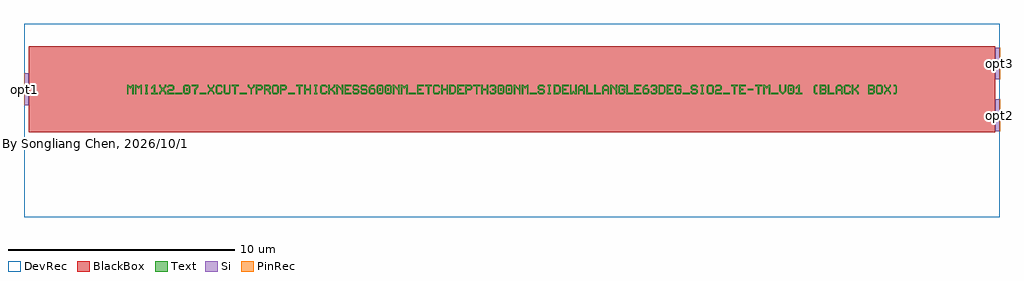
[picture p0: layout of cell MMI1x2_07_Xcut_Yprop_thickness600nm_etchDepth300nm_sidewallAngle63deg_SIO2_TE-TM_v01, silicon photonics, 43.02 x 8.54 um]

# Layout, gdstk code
import gdstk
lib = gdstk.Library(unit=1e-6, precision=1e-10)
def R(c, l, rs):  # rectangles x0, y0, x1, y1
    for r in rs: c.add(gdstk.rectangle(r[:2], r[2:], *l))
def A(c, l, x, y, w, h, nx, ny, dx, dy):  # array of equal rectangles
    R(c, l, [(x+i*dx, y+j*dy, x+i*dx+w, y+j*dy+h) for i in range(nx) for j in range(ny)])
def P(c, l, *ps):  # polygons
    for p in ps: c.add(gdstk.Polygon(p, *l))
Si = (1, 0)
PinRec = (1, 10)
Text = (10, 0)
DevRec = (68, 0)
BlackBox = (998, 0)

text = lib.new_cell('TEXT')
A(text, Text, 7.1, 0, 0.296, 0.059, 3, 1, 5.325, 0)
R(text, Text, [(2.13,0,2.426,0.059), (3.195,0,3.491,0.059), (4.97,0,5.266,0.059), (24.495,0,24.791,0.059), (26.27,0,26.566,0.059), (28.4,0,28.696,0.059), (2.603,0.148,2.663,0.266), (11.123,0.148,11.183,0.266), (11.478,0.148,11.538,0.266), (16.448,0.148,16.508,0.266), (16.803,0.148,16.863,0.266), (29.228,0.148,29.288,0.266), (27.365,0.178,27.601,0.237)])
P(text, Text, [(0,0),(0,0.414),(0.059,0.414),(0.118,0.355),(0.178,0.355),(0.237,0.414),(0.296,0.414),(0.296,0),(0.237,0),(0.237,0.296),(0.207,0.296),(0.148,0.237),(0.089,0.296),(0.059,0.296),(0.059,0)],
  [(0.355,0),(0.355,0.414),(0.414,0.414),(0.473,0.355),(0.533,0.355),(0.592,0.414),(0.651,0.414),(0.651,0),(0.592,0),(0.592,0.296),(0.562,0.296),(0.503,0.237),(0.444,0.296),(0.414,0.296),(0.414,0)],
  [(0.799,0),(0.799,0.059),(0.828,0.059),(0.828,0.355),(0.799,0.355),(0.799,0.414),(0.917,0.414),(0.917,0.355),(0.888,0.355),(0.888,0.059),(0.917,0.059),(0.917,0)],
  [(1.065,0),(1.065,0.059),(1.183,0.059),(1.183,0.296),(1.154,0.296),(1.095,0.237),(1.065,0.237),(1.065,0.296),(1.183,0.414),(1.243,0.414),(1.243,0.059),(1.361,0.059),(1.361,0)],
  [(1.42,0),(1.42,0.089),(1.509,0.178),(1.509,0.237),(1.42,0.325),(1.42,0.414),(1.479,0.414),(1.479,0.355),(1.568,0.266),(1.657,0.355),(1.657,0.414),(1.716,0.414),(1.716,0.325),(1.627,0.237),(1.627,0.178),(1.716,0.089),(1.716,0),(1.657,0),(1.657,0.059),(1.568,0.148),(1.479,0.059),(1.479,0)],
  [(1.775,0),(1.775,0.148),(1.834,0.207),(1.982,0.207),(2.012,0.237),(2.012,0.325),(1.982,0.355),(1.864,0.355),(1.834,0.325),(1.834,0.296),(1.775,0.296),(1.775,0.355),(1.834,0.414),(2.012,0.414),(2.071,0.355),(2.071,0.207),(2.012,0.148),(1.864,0.148),(1.834,0.118),(1.834,0.059),(2.071,0.059),(2.071,0)],
  [(2.544,0),(2.485,0.059),(2.485,0.355),(2.544,0.414),(2.722,0.414),(2.781,0.355),(2.574,0.355),(2.544,0.325),(2.544,0.089),(2.574,0.059),(2.692,0.059),(2.722,0.089),(2.722,0.325),(2.692,0.355),(2.781,0.355),(2.781,0.059),(2.722,0)],
  [(2.958,0),(2.958,0.207),(3.077,0.325),(3.077,0.355),(2.84,0.355),(2.84,0.414),(3.136,0.414),(3.136,0.296),(3.018,0.178),(3.018,0)],
  [(3.55,0),(3.55,0.089),(3.639,0.178),(3.639,0.237),(3.55,0.325),(3.55,0.414),(3.609,0.414),(3.609,0.355),(3.698,0.266),(3.787,0.355),(3.787,0.414),(3.846,0.414),(3.846,0.325),(3.757,0.237),(3.757,0.178),(3.846,0.089),(3.846,0),(3.787,0),(3.787,0.059),(3.698,0.148),(3.609,0.059),(3.609,0)],
  [(3.964,0),(3.905,0.059),(3.905,0.355),(3.964,0.414),(4.142,0.414),(4.201,0.355),(4.201,0.296),(4.142,0.296),(4.142,0.325),(4.112,0.355),(3.994,0.355),(3.964,0.325),(3.964,0.089),(3.994,0.059),(4.112,0.059),(4.142,0.089),(4.142,0.118),(4.201,0.118),(4.201,0.059),(4.142,0)],
  [(4.319,0),(4.26,0.059),(4.26,0.414),(4.319,0.414),(4.319,0.089),(4.349,0.059),(4.467,0.059),(4.497,0.089),(4.497,0.414),(4.556,0.414),(4.556,0.059),(4.497,0)],
  [(4.733,0),(4.733,0.355),(4.615,0.355),(4.615,0.414),(4.911,0.414),(4.911,0.355),(4.793,0.355),(4.793,0)],
  [(5.443,0),(5.443,0.207),(5.325,0.325),(5.325,0.414),(5.384,0.414),(5.384,0.355),(5.473,0.266),(5.562,0.355),(5.562,0.414),(5.621,0.414),(5.621,0.325),(5.503,0.207),(5.503,0)],
  [(5.68,0),(5.68,0.414),(5.917,0.414),(5.976,0.355),(5.976,0.237),(5.917,0.178),(5.739,0.178),(5.739,0.237),(5.887,0.237),(5.917,0.266),(5.917,0.325),(5.887,0.355),(5.739,0.355),(5.739,0)],
  [(6.035,0),(6.035,0.414),(6.272,0.414),(6.331,0.355),(6.094,0.355),(6.094,0.237),(6.242,0.237),(6.272,0.266),(6.272,0.325),(6.242,0.355),(6.331,0.355),(6.331,0.237),(6.272,0.178),(6.272,0.148),(6.331,0.089),(6.331,0),(6.272,0),(6.272,0.059),(6.153,0.178),(6.094,0.178),(6.094,0)],
  [(6.449,0),(6.39,0.059),(6.39,0.355),(6.449,0.414),(6.627,0.414),(6.686,0.355),(6.686,0.207),(6.627,0.207),(6.627,0.325),(6.597,0.355),(6.479,0.355),(6.449,0.325),(6.449,0.089),(6.479,0.059),(6.597,0.059),(6.627,0.089),(6.627,0.207),(6.686,0.207),(6.686,0.059),(6.627,0)],
  [(6.745,0),(6.745,0.414),(6.982,0.414),(7.041,0.355),(7.041,0.237),(6.982,0.178),(6.804,0.178),(6.804,0.237),(6.952,0.237),(6.982,0.266),(6.982,0.325),(6.952,0.355),(6.804,0.355),(6.804,0)],
  [(7.573,0),(7.573,0.355),(7.455,0.355),(7.455,0.414),(7.751,0.414),(7.751,0.355),(7.633,0.355),(7.633,0)],
  [(7.81,0),(7.81,0.414),(7.869,0.414),(7.869,0.237),(8.047,0.237),(8.047,0.414),(8.106,0.414),(8.106,0),(8.047,0),(8.047,0.178),(7.869,0.178),(7.869,0)],
  [(8.254,0),(8.254,0.059),(8.283,0.059),(8.283,0.355),(8.254,0.355),(8.254,0.414),(8.372,0.414),(8.372,0.355),(8.343,0.355),(8.343,0.059),(8.372,0.059),(8.372,0)],
  [(8.579,0),(8.52,0.059),(8.52,0.355),(8.579,0.414),(8.757,0.414),(8.816,0.355),(8.816,0.296),(8.757,0.296),(8.757,0.325),(8.727,0.355),(8.609,0.355),(8.579,0.325),(8.579,0.089),(8.609,0.059),(8.727,0.059),(8.757,0.089),(8.757,0.118),(8.816,0.118),(8.816,0.059),(8.757,0)],
  [(8.875,0),(8.875,0.414),(8.934,0.414),(8.934,0.237),(8.993,0.237),(9.112,0.355),(9.112,0.414),(9.171,0.414),(9.171,0.325),(9.053,0.207),(9.171,0.089),(9.171,0),(9.112,0),(9.112,0.059),(8.993,0.178),(8.934,0.178),(8.934,0)],
  [(9.23,0),(9.23,0.414),(9.289,0.414),(9.437,0.266),(9.467,0.266),(9.467,0.414),(9.526,0.414),(9.526,0),(9.467,0),(9.467,0.148),(9.319,0.296),(9.289,0.296),(9.289,0)],
  [(9.585,0),(9.585,0.414),(9.881,0.414),(9.881,0.355),(9.644,0.355),(9.644,0.237),(9.763,0.237),(9.763,0.178),(9.644,0.178),(9.644,0.059),(9.881,0.059),(9.881,0)],
  [(9.999,0),(9.94,0.059),(9.94,0.118),(9.999,0.118),(9.999,0.089),(10.029,0.059),(10.147,0.059),(10.177,0.089),(10.177,0.148),(10.147,0.178),(9.999,0.178),(9.94,0.237),(9.94,0.355),(9.999,0.414),(10.177,0.414),(10.236,0.355),(10.236,0.296),(10.177,0.296),(10.177,0.325),(10.147,0.355),(10.029,0.355),(9.999,0.325),(9.999,0.266),(10.029,0.237),(10.177,0.237),(10.236,0.178),(10.236,0.059),(10.177,0)],
  [(10.354,0),(10.295,0.059),(10.295,0.118),(10.354,0.118),(10.354,0.089),(10.384,0.059),(10.502,0.059),(10.532,0.089),(10.532,0.148),(10.502,0.178),(10.354,0.178),(10.295,0.237),(10.295,0.355),(10.354,0.414),(10.532,0.414),(10.591,0.355),(10.591,0.296),(10.532,0.296),(10.532,0.325),(10.502,0.355),(10.384,0.355),(10.354,0.325),(10.354,0.266),(10.384,0.237),(10.532,0.237),(10.591,0.178),(10.591,0.059),(10.532,0)],
  [(10.709,0),(10.65,0.059),(10.65,0.296),(10.768,0.414),(10.887,0.414),(10.887,0.355),(10.798,0.355),(10.739,0.296),(10.739,0.266),(10.887,0.266),(10.946,0.207),(10.739,0.207),(10.709,0.178),(10.709,0.089),(10.739,0.059),(10.857,0.059),(10.887,0.089),(10.887,0.178),(10.857,0.207),(10.946,0.207),(10.946,0.059),(10.887,0)],
  [(11.064,0),(11.005,0.059),(11.005,0.355),(11.064,0.414),(11.242,0.414),(11.301,0.355),(11.094,0.355),(11.064,0.325),(11.064,0.089),(11.094,0.059),(11.212,0.059),(11.242,0.089),(11.242,0.325),(11.212,0.355),(11.301,0.355),(11.301,0.059),(11.242,0)],
  [(11.419,0),(11.36,0.059),(11.36,0.355),(11.419,0.414),(11.597,0.414),(11.656,0.355),(11.449,0.355),(11.419,0.325),(11.419,0.089),(11.449,0.059),(11.567,0.059),(11.597,0.089),(11.597,0.325),(11.567,0.355),(11.656,0.355),(11.656,0.059),(11.597,0)],
  [(11.715,0),(11.715,0.414),(11.774,0.414),(11.922,0.266),(11.952,0.266),(11.952,0.414),(12.011,0.414),(12.011,0),(11.952,0),(11.952,0.148),(11.804,0.296),(11.774,0.296),(11.774,0)],
  [(12.07,0),(12.07,0.414),(12.129,0.414),(12.188,0.355),(12.248,0.355),(12.307,0.414),(12.366,0.414),(12.366,0),(12.307,0),(12.307,0.296),(12.277,0.296),(12.218,0.237),(12.159,0.296),(12.129,0.296),(12.129,0)],
  [(12.78,0),(12.78,0.414),(13.076,0.414),(13.076,0.355),(12.839,0.355),(12.839,0.237),(12.958,0.237),(12.958,0.178),(12.839,0.178),(12.839,0.059),(13.076,0.059),(13.076,0)],
  [(13.253,0),(13.253,0.355),(13.135,0.355),(13.135,0.414),(13.431,0.414),(13.431,0.355),(13.313,0.355),(13.313,0)],
  [(13.549,0),(13.49,0.059),(13.49,0.355),(13.549,0.414),(13.727,0.414),(13.786,0.355),(13.786,0.296),(13.727,0.296),(13.727,0.325),(13.697,0.355),(13.579,0.355),(13.549,0.325),(13.549,0.089),(13.579,0.059),(13.697,0.059),(13.727,0.089),(13.727,0.118),(13.786,0.118),(13.786,0.059),(13.727,0)],
  [(13.845,0),(13.845,0.414),(13.904,0.414),(13.904,0.237),(14.082,0.237),(14.082,0.414),(14.141,0.414),(14.141,0),(14.082,0),(14.082,0.178),(13.904,0.178),(13.904,0)],
  [(14.2,0),(14.2,0.414),(14.407,0.414),(14.466,0.355),(14.259,0.355),(14.259,0.059),(14.378,0.059),(14.437,0.118),(14.437,0.296),(14.378,0.355),(14.466,0.355),(14.496,0.325),(14.496,0.089),(14.407,0)],
  [(14.555,0),(14.555,0.414),(14.851,0.414),(14.851,0.355),(14.614,0.355),(14.614,0.237),(14.733,0.237),(14.733,0.178),(14.614,0.178),(14.614,0.059),(14.851,0.059),(14.851,0)],
  [(14.91,0),(14.91,0.414),(15.147,0.414),(15.206,0.355),(15.206,0.237),(15.147,0.178),(14.969,0.178),(14.969,0.237),(15.117,0.237),(15.147,0.266),(15.147,0.325),(15.117,0.355),(14.969,0.355),(14.969,0)],
  [(15.383,0),(15.383,0.355),(15.265,0.355),(15.265,0.414),(15.561,0.414),(15.561,0.355),(15.443,0.355),(15.443,0)],
  [(15.62,0),(15.62,0.414),(15.679,0.414),(15.679,0.237),(15.857,0.237),(15.857,0.414),(15.916,0.414),(15.916,0),(15.857,0),(15.857,0.178),(15.679,0.178),(15.679,0)],
  [(16.034,0),(15.975,0.059),(15.975,0.118),(16.034,0.118),(16.034,0.089),(16.064,0.059),(16.182,0.059),(16.212,0.089),(16.212,0.148),(16.182,0.178),(16.093,0.178),(16.093,0.237),(16.182,0.237),(16.212,0.266),(16.212,0.325),(16.182,0.355),(16.064,0.355),(16.034,0.325),(16.034,0.296),(15.975,0.296),(15.975,0.355),(16.034,0.414),(16.212,0.414),(16.271,0.355),(16.271,0.237),(16.241,0.207),(16.271,0.178),(16.271,0.059),(16.212,0)],
  [(16.389,0),(16.33,0.059),(16.33,0.355),(16.389,0.414),(16.567,0.414),(16.626,0.355),(16.419,0.355),(16.389,0.325),(16.389,0.089),(16.419,0.059),(16.537,0.059),(16.567,0.089),(16.567,0.325),(16.537,0.355),(16.626,0.355),(16.626,0.059),(16.567,0)],
  [(16.744,0),(16.685,0.059),(16.685,0.355),(16.744,0.414),(16.922,0.414),(16.981,0.355),(16.774,0.355),(16.744,0.325),(16.744,0.089),(16.774,0.059),(16.892,0.059),(16.922,0.089),(16.922,0.325),(16.892,0.355),(16.981,0.355),(16.981,0.059),(16.922,0)],
  [(17.04,0),(17.04,0.414),(17.099,0.414),(17.247,0.266),(17.277,0.266),(17.277,0.414),(17.336,0.414),(17.336,0),(17.277,0),(17.277,0.148),(17.129,0.296),(17.099,0.296),(17.099,0)],
  [(17.395,0),(17.395,0.414),(17.454,0.414),(17.513,0.355),(17.573,0.355),(17.632,0.414),(17.691,0.414),(17.691,0),(17.632,0),(17.632,0.296),(17.602,0.296),(17.543,0.237),(17.484,0.296),(17.454,0.296),(17.454,0)],
  [(18.164,0),(18.105,0.059),(18.105,0.118),(18.164,0.118),(18.164,0.089),(18.194,0.059),(18.312,0.059),(18.342,0.089),(18.342,0.148),(18.312,0.178),(18.164,0.178),(18.105,0.237),(18.105,0.355),(18.164,0.414),(18.342,0.414),(18.401,0.355),(18.401,0.296),(18.342,0.296),(18.342,0.325),(18.312,0.355),(18.194,0.355),(18.164,0.325),(18.164,0.266),(18.194,0.237),(18.342,0.237),(18.401,0.178),(18.401,0.059),(18.342,0)],
  [(18.549,0),(18.549,0.059),(18.578,0.059),(18.578,0.355),(18.549,0.355),(18.549,0.414),(18.667,0.414),(18.667,0.355),(18.638,0.355),(18.638,0.059),(18.667,0.059),(18.667,0)],
  [(18.815,0),(18.815,0.414),(19.022,0.414),(19.081,0.355),(18.874,0.355),(18.874,0.059),(18.993,0.059),(19.052,0.118),(19.052,0.296),(18.993,0.355),(19.081,0.355),(19.111,0.325),(19.111,0.089),(19.022,0)],
  [(19.17,0),(19.17,0.414),(19.466,0.414),(19.466,0.355),(19.229,0.355),(19.229,0.237),(19.348,0.237),(19.348,0.178),(19.229,0.178),(19.229,0.059),(19.466,0.059),(19.466,0)],
  [(19.525,0),(19.525,0.414),(19.584,0.414),(19.584,0.089),(19.614,0.089),(19.673,0.148),(19.732,0.089),(19.762,0.089),(19.762,0.414),(19.821,0.414),(19.821,0),(19.732,0),(19.673,0.059),(19.614,0)],
  [(19.88,0),(19.88,0.325),(19.969,0.414),(20.087,0.414),(20.146,0.355),(19.998,0.355),(19.939,0.296),(19.939,0.207),(20.117,0.207),(20.117,0.296),(20.058,0.355),(20.146,0.355),(20.176,0.325),(20.176,0),(20.117,0),(20.117,0.148),(19.939,0.148),(19.939,0)],
  [(20.235,0),(20.235,0.414),(20.294,0.414),(20.294,0.059),(20.531,0.059),(20.531,0)],
  [(20.59,0),(20.59,0.414),(20.649,0.414),(20.649,0.059),(20.886,0.059),(20.886,0)],
  [(20.945,0),(20.945,0.325),(21.034,0.414),(21.152,0.414),(21.211,0.355),(21.063,0.355),(21.004,0.296),(21.004,0.207),(21.182,0.207),(21.182,0.296),(21.123,0.355),(21.211,0.355),(21.241,0.325),(21.241,0),(21.182,0),(21.182,0.148),(21.004,0.148),(21.004,0)],
  [(21.3,0),(21.3,0.414),(21.359,0.414),(21.507,0.266),(21.537,0.266),(21.537,0.414),(21.596,0.414),(21.596,0),(21.537,0),(21.537,0.148),(21.389,0.296),(21.359,0.296),(21.359,0)],
  [(21.714,0),(21.655,0.059),(21.655,0.355),(21.714,0.414),(21.892,0.414),(21.951,0.355),(21.951,0.296),(21.892,0.296),(21.892,0.325),(21.862,0.355),(21.744,0.355),(21.714,0.325),(21.714,0.089),(21.744,0.059),(21.862,0.059),(21.892,0.089),(21.892,0.178),(21.803,0.178),(21.803,0.237),(21.951,0.237),(21.951,0.059),(21.892,0)],
  [(22.01,0),(22.01,0.414),(22.069,0.414),(22.069,0.059),(22.306,0.059),(22.306,0)],
  [(22.365,0),(22.365,0.414),(22.661,0.414),(22.661,0.355),(22.424,0.355),(22.424,0.237),(22.543,0.237),(22.543,0.178),(22.424,0.178),(22.424,0.059),(22.661,0.059),(22.661,0)],
  [(22.779,0),(22.72,0.059),(22.72,0.296),(22.838,0.414),(22.957,0.414),(22.957,0.355),(22.868,0.355),(22.809,0.296),(22.809,0.266),(22.957,0.266),(23.016,0.207),(22.809,0.207),(22.779,0.178),(22.779,0.089),(22.809,0.059),(22.927,0.059),(22.957,0.089),(22.957,0.178),(22.927,0.207),(23.016,0.207),(23.016,0.059),(22.957,0)],
  [(23.134,0),(23.075,0.059),(23.075,0.118),(23.134,0.118),(23.134,0.089),(23.164,0.059),(23.282,0.059),(23.312,0.089),(23.312,0.148),(23.282,0.178),(23.193,0.178),(23.193,0.237),(23.282,0.237),(23.312,0.266),(23.312,0.325),(23.282,0.355),(23.164,0.355),(23.134,0.325),(23.134,0.296),(23.075,0.296),(23.075,0.355),(23.134,0.414),(23.312,0.414),(23.371,0.355),(23.371,0.237),(23.341,0.207),(23.371,0.178),(23.371,0.059),(23.312,0)],
  [(23.43,0),(23.43,0.414),(23.637,0.414),(23.696,0.355),(23.489,0.355),(23.489,0.059),(23.608,0.059),(23.667,0.118),(23.667,0.296),(23.608,0.355),(23.696,0.355),(23.726,0.325),(23.726,0.089),(23.637,0)],
  [(23.785,0),(23.785,0.414),(24.081,0.414),(24.081,0.355),(23.844,0.355),(23.844,0.237),(23.963,0.237),(23.963,0.178),(23.844,0.178),(23.844,0.059),(24.081,0.059),(24.081,0)],
  [(24.199,0),(24.14,0.059),(24.14,0.355),(24.199,0.414),(24.377,0.414),(24.436,0.355),(24.436,0.296),(24.377,0.296),(24.377,0.325),(24.347,0.355),(24.229,0.355),(24.199,0.325),(24.199,0.089),(24.229,0.059),(24.347,0.059),(24.377,0.089),(24.377,0.178),(24.288,0.178),(24.288,0.237),(24.436,0.237),(24.436,0.059),(24.377,0)],
  [(24.909,0),(24.85,0.059),(24.85,0.118),(24.909,0.118),(24.909,0.089),(24.939,0.059),(25.057,0.059),(25.087,0.089),(25.087,0.148),(25.057,0.178),(24.909,0.178),(24.85,0.237),(24.85,0.355),(24.909,0.414),(25.087,0.414),(25.146,0.355),(25.146,0.296),(25.087,0.296),(25.087,0.325),(25.057,0.355),(24.939,0.355),(24.909,0.325),(24.909,0.266),(24.939,0.237),(25.087,0.237),(25.146,0.178),(25.146,0.059),(25.087,0)],
  [(25.294,0),(25.294,0.059),(25.323,0.059),(25.323,0.355),(25.294,0.355),(25.294,0.414),(25.412,0.414),(25.412,0.355),(25.383,0.355),(25.383,0.059),(25.412,0.059),(25.412,0)],
  [(25.619,0),(25.56,0.059),(25.56,0.355),(25.619,0.414),(25.797,0.414),(25.856,0.355),(25.856,0.207),(25.797,0.207),(25.797,0.325),(25.767,0.355),(25.649,0.355),(25.619,0.325),(25.619,0.089),(25.649,0.059),(25.767,0.059),(25.797,0.089),(25.797,0.207),(25.856,0.207),(25.856,0.059),(25.797,0)],
  [(25.915,0),(25.915,0.148),(25.974,0.207),(26.122,0.207),(26.152,0.237),(26.152,0.325),(26.122,0.355),(26.004,0.355),(25.974,0.325),(25.974,0.296),(25.915,0.296),(25.915,0.355),(25.974,0.414),(26.152,0.414),(26.211,0.355),(26.211,0.207),(26.152,0.148),(26.004,0.148),(25.974,0.118),(25.974,0.059),(26.211,0.059),(26.211,0)],
  [(26.743,0),(26.743,0.355),(26.625,0.355),(26.625,0.414),(26.921,0.414),(26.921,0.355),(26.803,0.355),(26.803,0)],
  [(26.98,0),(26.98,0.414),(27.276,0.414),(27.276,0.355),(27.039,0.355),(27.039,0.237),(27.158,0.237),(27.158,0.178),(27.039,0.178),(27.039,0.059),(27.276,0.059),(27.276,0)],
  [(27.808,0),(27.808,0.355),(27.69,0.355),(27.69,0.414),(27.986,0.414),(27.986,0.355),(27.868,0.355),(27.868,0)],
  [(28.045,0),(28.045,0.414),(28.104,0.414),(28.163,0.355),(28.223,0.355),(28.282,0.414),(28.341,0.414),(28.341,0),(28.282,0),(28.282,0.296),(28.252,0.296),(28.193,0.237),(28.134,0.296),(28.104,0.296),(28.104,0)],
  [(28.873,0),(28.755,0.118),(28.755,0.414),(28.814,0.414),(28.814,0.148),(28.903,0.059),(28.992,0.148),(28.992,0.414),(29.051,0.414),(29.051,0.118),(28.933,0)],
  [(29.169,0),(29.11,0.059),(29.11,0.355),(29.169,0.414),(29.347,0.414),(29.406,0.355),(29.199,0.355),(29.169,0.325),(29.169,0.089),(29.199,0.059),(29.317,0.059),(29.347,0.089),(29.347,0.325),(29.317,0.355),(29.406,0.355),(29.406,0.059),(29.347,0)],
  [(29.465,0),(29.465,0.059),(29.583,0.059),(29.583,0.296),(29.554,0.296),(29.495,0.237),(29.465,0.237),(29.465,0.296),(29.583,0.414),(29.643,0.414),(29.643,0.059),(29.761,0.059),(29.761,0)],
  [(30.323,0),(30.264,0.059),(30.264,0.355),(30.323,0.414),(30.412,0.414),(30.412,0.355),(30.353,0.355),(30.323,0.325),(30.323,0.089),(30.353,0.059),(30.412,0.059),(30.412,0)],
  [(30.53,0),(30.53,0.414),(30.767,0.414),(30.826,0.355),(30.589,0.355),(30.589,0.237),(30.737,0.237),(30.767,0.266),(30.767,0.325),(30.737,0.355),(30.826,0.355),(30.826,0.237),(30.796,0.207),(30.826,0.178),(30.589,0.178),(30.589,0.059),(30.737,0.059),(30.767,0.089),(30.767,0.148),(30.737,0.178),(30.826,0.178),(30.826,0.059),(30.767,0)],
  [(30.885,0),(30.885,0.414),(30.944,0.414),(30.944,0.059),(31.181,0.059),(31.181,0)],
  [(31.24,0),(31.24,0.325),(31.329,0.414),(31.447,0.414),(31.506,0.355),(31.358,0.355),(31.299,0.296),(31.299,0.207),(31.477,0.207),(31.477,0.296),(31.418,0.355),(31.506,0.355),(31.536,0.325),(31.536,0),(31.477,0),(31.477,0.148),(31.299,0.148),(31.299,0)],
  [(31.654,0),(31.595,0.059),(31.595,0.355),(31.654,0.414),(31.832,0.414),(31.891,0.355),(31.891,0.296),(31.832,0.296),(31.832,0.325),(31.802,0.355),(31.684,0.355),(31.654,0.325),(31.654,0.089),(31.684,0.059),(31.802,0.059),(31.832,0.089),(31.832,0.118),(31.891,0.118),(31.891,0.059),(31.832,0)],
  [(31.95,0),(31.95,0.414),(32.009,0.414),(32.009,0.237),(32.068,0.237),(32.187,0.355),(32.187,0.414),(32.246,0.414),(32.246,0.325),(32.128,0.207),(32.246,0.089),(32.246,0),(32.187,0),(32.187,0.059),(32.068,0.178),(32.009,0.178),(32.009,0)],
  [(32.66,0),(32.66,0.414),(32.897,0.414),(32.956,0.355),(32.719,0.355),(32.719,0.237),(32.867,0.237),(32.897,0.266),(32.897,0.325),(32.867,0.355),(32.956,0.355),(32.956,0.237),(32.926,0.207),(32.956,0.178),(32.719,0.178),(32.719,0.059),(32.867,0.059),(32.897,0.089),(32.897,0.148),(32.867,0.178),(32.956,0.178),(32.956,0.059),(32.897,0)],
  [(33.074,0),(33.015,0.059),(33.015,0.355),(33.074,0.414),(33.252,0.414),(33.311,0.355),(33.311,0.207),(33.252,0.207),(33.252,0.325),(33.222,0.355),(33.104,0.355),(33.074,0.325),(33.074,0.089),(33.104,0.059),(33.222,0.059),(33.252,0.089),(33.252,0.207),(33.311,0.207),(33.311,0.059),(33.252,0)],
  [(33.37,0),(33.37,0.089),(33.459,0.178),(33.459,0.237),(33.37,0.325),(33.37,0.414),(33.429,0.414),(33.429,0.355),(33.518,0.266),(33.607,0.355),(33.607,0.414),(33.666,0.414),(33.666,0.325),(33.577,0.237),(33.577,0.178),(33.666,0.089),(33.666,0),(33.607,0),(33.607,0.059),(33.518,0.148),(33.429,0.059),(33.429,0)],
  [(33.784,0),(33.784,0.059),(33.843,0.059),(33.873,0.089),(33.873,0.325),(33.843,0.355),(33.784,0.355),(33.784,0.414),(33.873,0.414),(33.932,0.355),(33.932,0.059),(33.873,0)])

mmi1x2_07_xcut_yprop_thi = lib.new_cell('MMI1x2_07_Xcut_Yprop_thickness600nm_etchDepth300nm_sidewallAngle63deg_SIO2_TE-TM_v01')
R(mmi1x2_07_xcut_yprop_thi, Si, [(21.3,-1.84,21.5,-0.44), (-21.5,-0.7,-21.3,0.7), (21.3,0.44,21.5,1.84)])
R(mmi1x2_07_xcut_yprop_thi, DevRec, [(-21.5,-5.6441,21.5,2.9)])
R(mmi1x2_07_xcut_yprop_thi, BlackBox, [(-21.3,-1.9,21.3,1.9)])
mmi1x2_07_xcut_yprop_thi.add(gdstk.FlexPath([(-21.49,0),(-21.51,0)], 1.4, ends="flush", simple_path=True, layer=1, datatype=10))  # PinRec
mmi1x2_07_xcut_yprop_thi.add(gdstk.FlexPath([(21.49,-1.14),(21.51,-1.14)], 1.4, ends="flush", simple_path=True, layer=1, datatype=10))  # PinRec
mmi1x2_07_xcut_yprop_thi.add(gdstk.FlexPath([(21.49,1.14),(21.51,1.14)], 1.4, ends="flush", simple_path=True, layer=1, datatype=10))  # PinRec
mmi1x2_07_xcut_yprop_thi.add(gdstk.Reference(text, (-16.966,-0.207)))
mmi1x2_07_xcut_yprop_thi.add(gdstk.Label('opt1', (-21.5,0), layer=1, texttype=10))
mmi1x2_07_xcut_yprop_thi.add(gdstk.Label('opt2', (21.5,-1.14), layer=1, texttype=10))
mmi1x2_07_xcut_yprop_thi.add(gdstk.Label('opt3', (21.5,1.14), layer=1, texttype=10))
mmi1x2_07_xcut_yprop_thi.add(gdstk.Label('By Songliang Chen, 2026/10/13', (-21,-2.4), layer=10, texttype=0))

lib.write_gds('MMI1x2_07_Xcut_Yprop_thickness600nm_etchDepth300nm_sidewallAngle63deg_SIO2_TE-TM_v01.gds')
